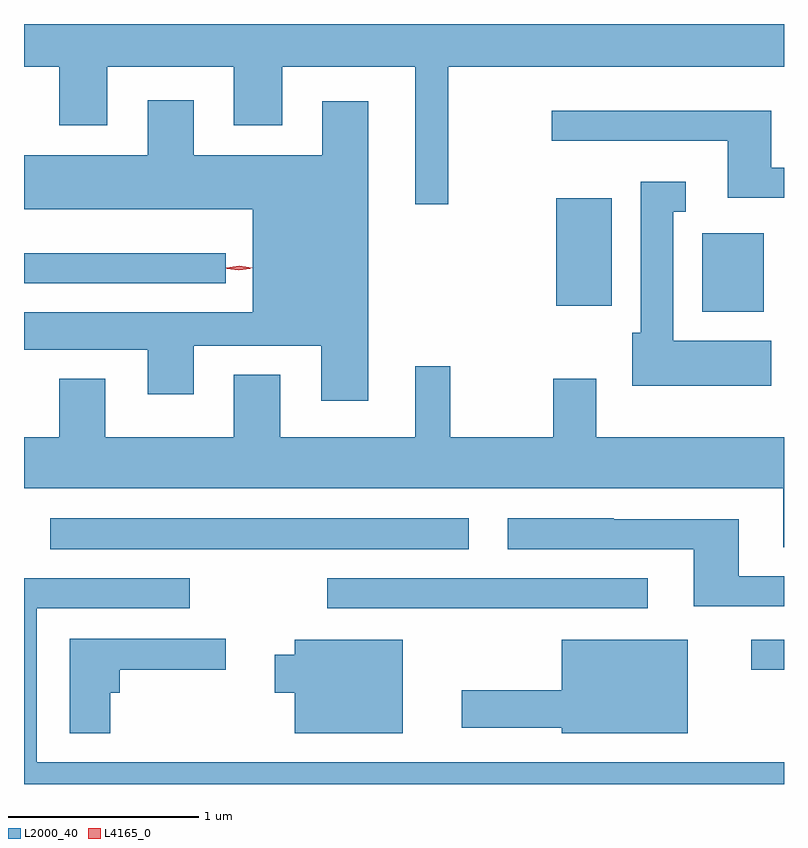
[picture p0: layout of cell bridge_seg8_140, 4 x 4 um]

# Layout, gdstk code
import gdstk
lib = gdstk.Library(unit=1e-6, precision=1e-09)
def R(c, l, rs):  # rectangles x0, y0, x1, y1
    for r in rs: c.add(gdstk.rectangle(r[:2], r[2:], *l))
def P(c, l, *ps):  # polygons
    for p in ps: c.add(gdstk.Polygon(p, *l))
L2000_40 = (2000, 40)
L4165_0 = (4165, 0)

bridge_seg8_140 = lib.new_cell('bridge_seg8_140')
R(bridge_seg8_140, L2000_40, [(1864.643,1813.261,1864.816,1813.419), (1862.413,1813.586,1864.098,1813.744), (1860.953,1813.896,1863.158,1814.059), (1864.386,1815.146,1864.709,1815.559), (1863.616,1815.176,1863.909,1815.744), (1860.816,1815.296,1861.878,1815.454)])
P(bridge_seg8_140, L2000_40, [(1863.049,1816.436),(1864.816,1816.436),(1864.816,1816.66),(1860.816,1816.66),(1860.816,1816.436),(1861.001,1816.436),(1861.001,1816.126),(1861.254,1816.126),(1861.254,1816.436),(1861.921,1816.436),(1861.921,1816.126),(1862.174,1816.126),(1862.174,1816.436),(1862.876,1816.436),(1862.876,1815.711),(1863.049,1815.711)],
  [(1862.629,1816.254),(1862.386,1816.254),(1862.386,1815.969),(1861.709,1815.969),(1861.709,1816.259),(1861.466,1816.259),(1861.466,1815.969),(1860.816,1815.969),(1860.816,1815.686),(1862.021,1815.686),(1862.021,1815.144),(1860.816,1815.144),(1860.816,1814.946),(1861.466,1814.946),(1861.466,1814.711),(1861.709,1814.711),(1861.709,1814.966),(1862.381,1814.966),(1862.381,1814.676),(1862.629,1814.676)],
  [(1864.816,1815.904),(1864.749,1815.904),(1864.749,1816.204),(1863.593,1816.204),(1863.593,1816.046),(1864.521,1816.046),(1864.521,1815.746),(1864.816,1815.746)],
  [(1864.749,1814.994),(1864.234,1814.994),(1864.234,1815.671),(1864.298,1815.671),(1864.298,1815.829),(1864.061,1815.829),(1864.061,1815.034),(1864.016,1815.034),(1864.016,1814.756),(1864.749,1814.756)],
  [(1864.816,1814.484),(1863.829,1814.484),(1863.829,1814.794),(1863.601,1814.794),(1863.601,1814.484),(1863.059,1814.484),(1863.059,1814.859),(1862.876,1814.859),(1862.876,1814.484),(1862.164,1814.484),(1862.164,1814.814),(1861.921,1814.814),(1861.921,1814.484),(1861.244,1814.484),(1861.244,1814.794),(1861.001,1814.794),(1861.001,1814.484),(1860.816,1814.484),(1860.816,1814.216),(1864.811,1814.216),(1864.811,1813.906),(1864.816,1813.906)],
  [(1864.816,1813.754),(1864.579,1813.754),(1864.579,1814.054),(1863.92,1814.054),(1863.92,1814.059),(1863.363,1814.059),(1863.363,1813.896),(1864.341,1813.896),(1864.341,1813.596),(1864.816,1813.596)],
  [(1864.816,1812.774),(1860.884,1812.774),(1860.884,1813.586),(1861.688,1813.586),(1861.688,1813.744),(1860.816,1813.744),(1860.816,1812.66),(1864.816,1812.66)],
  [(1861.269,1813.141),(1861.319,1813.141),(1861.319,1813.261),(1861.878,1813.261),(1861.878,1813.424),(1861.056,1813.424),(1861.056,1812.926),(1861.269,1812.926)],
  [(1864.309,1813.419),(1863.646,1813.419),(1863.646,1813.154),(1863.121,1813.154),(1863.121,1812.956),(1863.646,1812.956),(1863.646,1812.926),(1864.309,1812.926)],
  [(1862.809,1813.419),(1862.241,1813.419),(1862.241,1813.339),(1862.136,1813.339),(1862.136,1813.141),(1862.241,1813.141),(1862.241,1812.926),(1862.809,1812.926)])
P(bridge_seg8_140, L4165_0, [(1861.945,1815.364),(1861.884,1815.373),(1861.883,1815.374),(1861.884,1815.374),(1861.945,1815.384),(1862.007,1815.374),(1862.007,1815.374),(1862.007,1815.373)],
  [(1861.948,1815.367),(1861.88,1815.377),(1861.879,1815.378),(1861.88,1815.378),(1861.949,1815.387),(1862.017,1815.378),(1862.018,1815.377),(1862.017,1815.377)])

lib.write_gds('bridge_seg8_140.gds')
